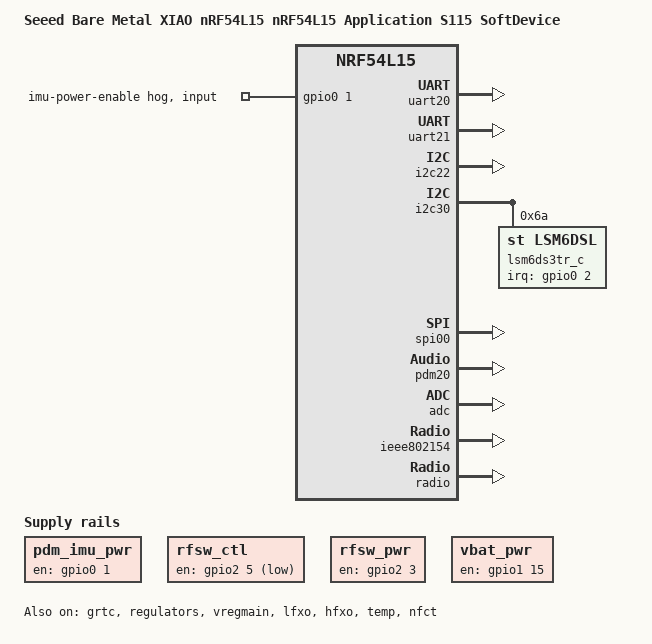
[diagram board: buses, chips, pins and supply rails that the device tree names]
/*
 * SPDX-License-Identifier: Apache-2.0
 */

/dts-v1/;

#include <nordic/nrf54l15_cpuapp.dtsi>
#include "seeed_xiao_connector.dtsi"
#include "bm_xiao_softdevice_nrf54l15_cpuapp_common.dtsi"
#include <zephyr/dt-bindings/gpio/nordic-nrf-gpio.h>

/ {
	model = "Seeed Bare Metal XIAO nRF54L15 nRF54L15 Application S115 SoftDevice";
	compatible = "seeed,bm_xiao_softdevice_nrf54l15-cpuapp-s115-softdevice";

	pdm_imu_pwr: pdm-imu-pwr {
		compatible = "regulator-fixed-sync", "regulator-fixed";
		regulator-name = "pdm-imu-pwr";
		enable-gpios = <&gpio0 1 (NRF_GPIO_DRIVE_S0H1 | GPIO_ACTIVE_HIGH)>;
		regulator-boot-on;
		startup-delay-us = <3000>;
	};

	rfsw_ctl: rfsw-ctl {
		compatible = "regulator-fixed";
		regulator-name = "rfsw-ctl";
		enable-gpios = <&gpio2 5 GPIO_ACTIVE_LOW>;
		regulator-boot-on;
	};

	rfsw_pwr: rfsw-pwr {
		compatible = "regulator-fixed";
		regulator-name = "rfsw-pwr";
		enable-gpios = <&gpio2 3 GPIO_ACTIVE_HIGH>;
		regulator-boot-on;
	};

	vbat_pwr: vbat-pwr {
		compatible = "regulator-fixed";
		regulator-name = "vbat";
		enable-gpios = <&gpio1 15 GPIO_ACTIVE_HIGH>;
		regulator-boot-on;
	};

	chosen {
		zephyr,flash = &cpuapp_rram;
		zephyr,code-partition = &slot0_partition;
		zephyr,sram = &app_ram;
		zephyr,console = &uart20;
		zephyr,shell-uart = &uart20;
		nordic,rpc-uart = &uart20;
		zephyr,ieee802154 = &ieee802154;
	};

	aliases {
		imu0 = &lsm6ds3tr_c;
	};
};

// &clock {
// 	status = "okay";
// };
&grtc {
	owned-channels = <0 1 2 3 4 5 6 7 8 9 10 11>;
	/* Channels 7-11 reserved for Zero Latency IRQs, 3-4 for FLPR */
	child-owned-channels = <3 4 7 8 9 10 11>;
	status = "okay";
};
&uart20 {
	status = "okay";
};

&uart21 {
	status = "okay";
};

&i2c22 {
	status = "okay";
};

&i2c30 {
	status = "okay";

	lsm6ds3tr_c: lsm6ds3tr-c@6a {
		compatible = "st,lsm6dsl";
		reg = <0x6a>;
		irq-gpios = <&gpio0 2 GPIO_ACTIVE_HIGH>;
		status = "okay";
	};
};

&spi00 {
	status = "okay";
};

&pdm20 {
	status = "okay";
};

&adc {
	status = "okay";
};

&gpio0 {
	status = "okay";

	imu_power_default_on: imu_power_default_on {
		gpio-hog;
		gpios = <1 GPIO_ACTIVE_HIGH>;
		line-name = "imu-power-enable";
	};
};

&gpio1 {
	status = "okay";
};

&gpio2 {
	status = "okay";
};

&gpiote20 {
	status = "okay";
};

&gpiote30 {
	status = "okay";
};

&regulators {
	status = "okay";
};

&vregmain {
	status = "okay";
	regulator-initial-mode = <NRF5X_REG_MODE_DCDC>;
};

&lfxo {
	load-capacitors = "internal";
	load-capacitance-femtofarad = <16000>;
	status = "okay";
};

&hfxo {
	load-capacitors = "internal";
	load-capacitance-femtofarad = <16000>;
	status = "okay";
};

&ieee802154 {
	status = "okay";
};

&temp {
	status = "okay";
};

&radio {
	status = "okay";
};

&nfct {
	status = "okay";
};

&cpuapp_rram {
	status = "okay";

	partitions {
		compatible = "fixed-partitions";
		#address-cells = <1>;
		#size-cells = <1>;

		slot0_partition: partition@0 {
			label = "slot0";
			reg = <0x00000000 DT_SIZE_K(1408)>;
		};

		storage_partition: partition@160000 {
			compatible = "fixed-subpartitions";
			label = "storage";
			reg = <0x00160000 DT_SIZE_K(8)>;
			ranges = <0x0 0x160000 DT_SIZE_K(8)>;
			#address-cells = <1>;
			#size-cells = <1>;

			peer_manager_partition: partition@0 {
				label = "peer_manager";
				reg = <0x00000000 DT_SIZE_K(4)>;
			};

			storage0_partition: partition@1000 {
				label = "storage0";
				reg = <0x00001000 DT_SIZE_K(4)>;
			};
		};

		softdevice_partition: partition@162000 {
			label = "softdevice";
			reg = <0x00162000 DT_SIZE_K(107)>;
		};
	};
};

&cpuapp_sram {
	status = "okay";

	softdevice_static_ram: sram@0 {
		label = "softdevice_static_ram";
		reg = <0x0 0x1380>;
	};

	softdevice_dynamic_ram: sram@1380 {
		label = "softdevice_dynamic_ram";
		reg = <0x1380 DT_SIZE_K(12)>;
	};

	app_ram: sram@4380 {
		label = "app_ram";
		reg = <0x4380 DT_SIZE_K(238)>;
	};
};
